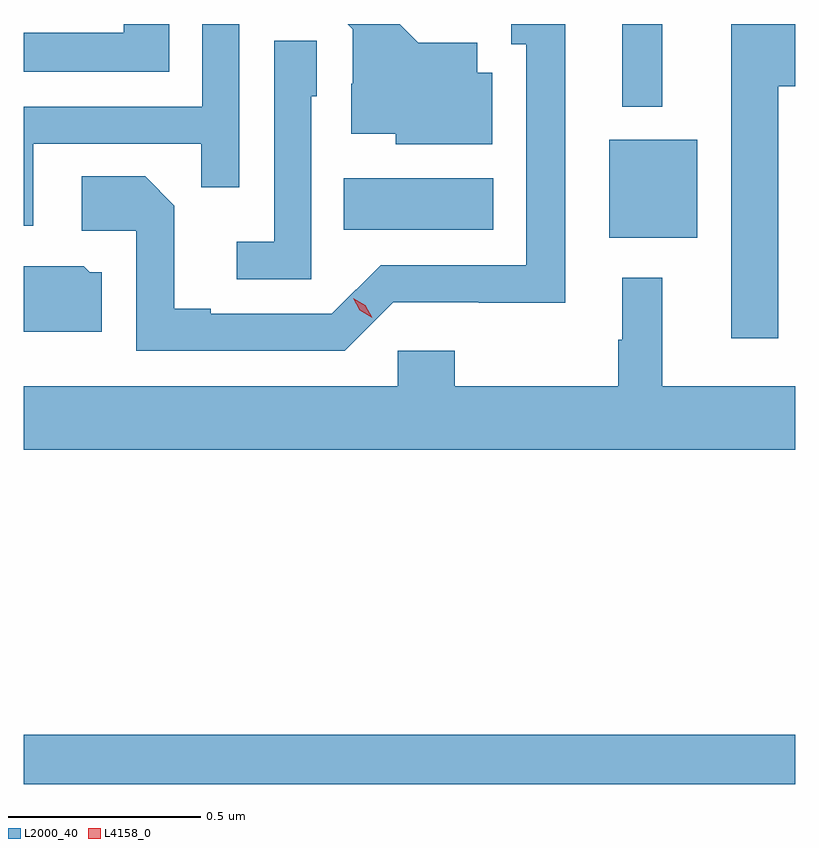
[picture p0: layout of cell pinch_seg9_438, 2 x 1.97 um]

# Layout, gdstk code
import gdstk
lib = gdstk.Library(unit=1e-6, precision=1e-09)
def R(c, l, rs):  # rectangles x0, y0, x1, y1
    for r in rs: c.add(gdstk.rectangle(r[:2], r[2:], *l))
def P(c, l, *ps):  # polygons
    for p in ps: c.add(gdstk.Polygon(p, *l))
L2000_40 = (2000, 40)
L4158_0 = (4158, 0)

pinch_seg9_438 = lib.new_cell('pinch_seg9_438')
R(pinch_seg9_438, L2000_40, [(227.114,1234.182,229.114,1234.31), (228.632,1235.597,228.859,1235.851), (227.944,1235.618,228.331,1235.752), (228.665,1235.936,228.769,1236.151)])
P(pinch_seg9_438, L2000_40, [(227.139,1235.841),(227.575,1235.841),(227.575,1235.728),(227.673,1235.728),(227.673,1236.151),(227.577,1236.151),(227.577,1235.937),(227.114,1235.937),(227.114,1235.628),(227.139,1235.628)],
  [(228.328,1236.025),(228.289,1236.025),(228.289,1236.103),(228.137,1236.103),(228.089,1236.151),(227.954,1236.151),(227.967,1236.138),(227.967,1235.996),(227.963,1235.996),(227.963,1235.867),(228.078,1235.867),(228.078,1235.84),(228.328,1235.84)],
  [(227.492,1236.151),(227.374,1236.151),(227.374,1236.128),(227.114,1236.128),(227.114,1236.027),(227.492,1236.027)],
  [(228.072,1235.43),(228.294,1235.43),(228.294,1235.429),(228.517,1235.429),(228.517,1236.151),(228.377,1236.151),(228.377,1236.099),(228.416,1236.099),(228.416,1235.526),(228.039,1235.526),(227.913,1235.4),(227.599,1235.4),(227.599,1235.413),(227.505,1235.413),(227.505,1235.68),(227.429,1235.756),(227.265,1235.756),(227.265,1235.616),(227.406,1235.616),(227.406,1235.304),(227.946,1235.304)],
  [(229.069,1235.99),(229.114,1235.99),(229.114,1236.151),(228.947,1236.151),(228.947,1235.337),(229.069,1235.337)],
  [(227.859,1235.964),(227.874,1235.964),(227.874,1236.107),(227.763,1236.107),(227.763,1235.587),(227.667,1235.587),(227.667,1235.49),(227.859,1235.49)],
  [(227.317,1235.508),(227.286,1235.508),(227.27,1235.524),(227.136,1235.524),(227.136,1235.523),(227.114,1235.523),(227.114,1235.354),(227.317,1235.354)],
  [(229.114,1235.212),(228.769,1235.212),(228.769,1235.494),(228.665,1235.494),(228.665,1235.333),(228.655,1235.333),(228.655,1235.212),(228.231,1235.212),(228.231,1235.305),(228.084,1235.305),(228.084,1235.212),(227.114,1235.212),(227.114,1235.048),(229.114,1235.048)])
P(pinch_seg9_438, L4158_0, [(228.017,1235.39),(227.985,1235.409),(227.968,1235.441),(227.968,1235.441),(227.968,1235.441),(228,1235.422),(228.017,1235.39),(228.017,1235.39)])

lib.write_gds('pinch_seg9_438.gds')
